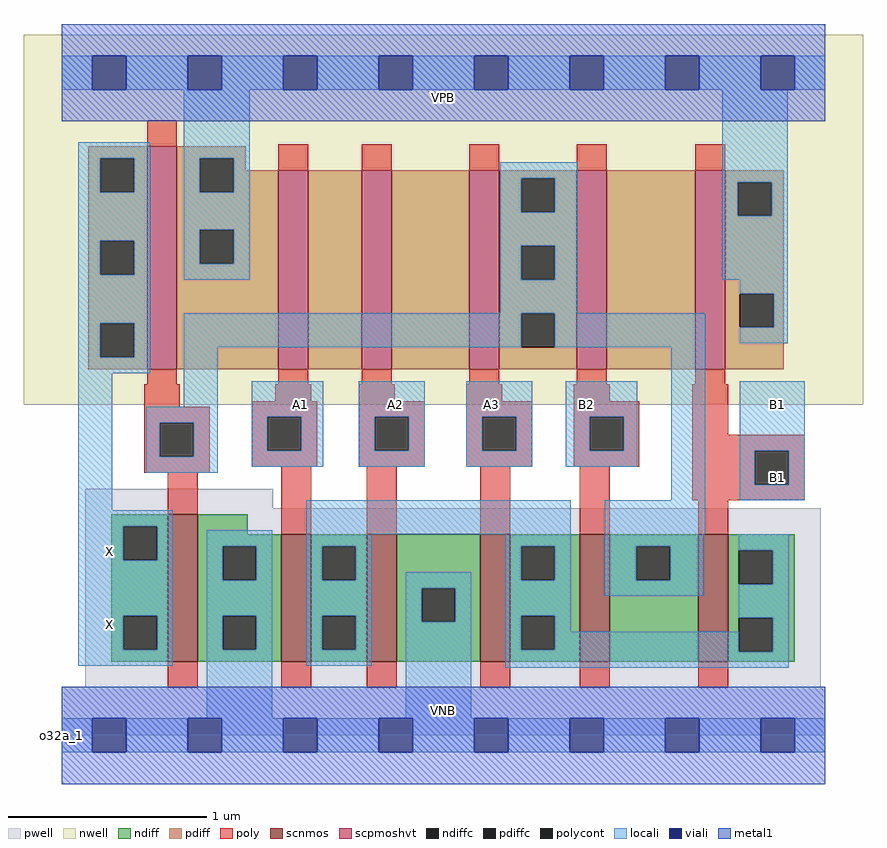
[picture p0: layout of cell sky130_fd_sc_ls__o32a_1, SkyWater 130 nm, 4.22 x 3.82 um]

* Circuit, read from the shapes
.subckt sky130_fd_sc_ls__o32a_1 A1 A2 A3 B1 B2 VGND VNB VPB VPWR X
XM1 VGND n1 X VNB sky130_fd_pr__nfet_01v8 w=0.74 l=0.15
XM2 n2 A1 VGND VNB sky130_fd_pr__nfet_01v8 w=0.64 l=0.15
XM3 VGND A2 n2 VNB sky130_fd_pr__nfet_01v8 w=0.64 l=0.15
XM4 n2 A3 VGND VNB sky130_fd_pr__nfet_01v8 w=0.64 l=0.15
XM5 n1 B2 n2 VNB sky130_fd_pr__nfet_01v8 w=0.64 l=0.15
XM6 n2 B1 n1 VNB sky130_fd_pr__nfet_01v8 w=0.64 l=0.15
XM7 VPWR n1 X VPB sky130_fd_pr__pfet_01v8_hvt w=1.12 l=0.15
XM8 n3 A1 VPWR VPB sky130_fd_pr__pfet_01v8_hvt w=1 l=0.15
XM9 n4 A2 n3 VPB sky130_fd_pr__pfet_01v8_hvt w=1 l=0.15
XM10 n1 A3 n4 VPB sky130_fd_pr__pfet_01v8_hvt w=1 l=0.15
XM11 n5 B2 n1 VPB sky130_fd_pr__pfet_01v8_hvt w=1 l=0.15
XM12 VPWR B1 n5 VPB sky130_fd_pr__pfet_01v8_hvt w=1 l=0.15
.ends

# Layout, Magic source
magic
tech sky130A
magscale 1 2
<< nwell >>
rect -38 332 806 704
<< pwell >>
rect 24 228 213 248
rect 24 49 763 228
rect 0 0 768 49
<< scnmos >>
rect 107 74 137 222
rect 221 74 251 202
rect 307 74 337 202
rect 421 74 451 202
rect 521 74 551 202
rect 640 74 670 202
<< scpmoshvt >>
rect 86 368 116 592
rect 218 368 248 568
rect 302 368 332 568
rect 410 368 440 568
rect 518 368 548 568
rect 637 368 667 568
<< ndiff >>
rect 50 210 107 222
rect 50 176 62 210
rect 96 176 107 210
rect 50 120 107 176
rect 50 86 62 120
rect 96 86 107 120
rect 50 74 107 86
rect 137 202 187 222
rect 137 190 221 202
rect 137 156 162 190
rect 196 156 221 190
rect 137 120 221 156
rect 137 86 162 120
rect 196 86 221 120
rect 137 74 221 86
rect 251 190 307 202
rect 251 156 262 190
rect 296 156 307 190
rect 251 120 307 156
rect 251 86 262 120
rect 296 86 307 120
rect 251 74 307 86
rect 337 148 421 202
rect 337 114 362 148
rect 396 114 421 148
rect 337 74 421 114
rect 451 190 521 202
rect 451 156 462 190
rect 496 156 521 190
rect 451 120 521 156
rect 451 86 462 120
rect 496 86 521 120
rect 451 74 521 86
rect 551 190 640 202
rect 551 156 578 190
rect 612 156 640 190
rect 551 74 640 156
rect 670 186 737 202
rect 670 152 681 186
rect 715 152 737 186
rect 670 118 737 152
rect 670 84 681 118
rect 715 84 737 118
rect 670 74 737 84
<< pdiff >>
rect 27 580 86 592
rect 27 546 39 580
rect 73 546 86 580
rect 27 497 86 546
rect 27 463 39 497
rect 73 463 86 497
rect 27 414 86 463
rect 27 380 39 414
rect 73 380 86 414
rect 27 368 86 380
rect 116 580 185 592
rect 116 546 139 580
rect 173 568 185 580
rect 173 546 218 568
rect 116 508 218 546
rect 116 474 139 508
rect 173 474 218 508
rect 116 368 218 474
rect 248 368 302 568
rect 332 368 410 568
rect 440 560 518 568
rect 440 526 462 560
rect 496 526 518 560
rect 440 492 518 526
rect 440 458 462 492
rect 496 458 518 492
rect 440 424 518 458
rect 440 390 462 424
rect 496 390 518 424
rect 440 368 518 390
rect 548 368 637 568
rect 667 556 726 568
rect 667 522 680 556
rect 714 522 726 556
rect 667 444 726 522
rect 667 410 682 444
rect 716 410 726 444
rect 667 368 726 410
<< ndiffc >>
rect 62 176 96 210
rect 62 86 96 120
rect 162 156 196 190
rect 162 86 196 120
rect 262 156 296 190
rect 262 86 296 120
rect 362 114 396 148
rect 462 156 496 190
rect 462 86 496 120
rect 578 156 612 190
rect 681 152 715 186
rect 681 84 715 118
<< pdiffc >>
rect 39 546 73 580
rect 39 463 73 497
rect 39 380 73 414
rect 139 546 173 580
rect 139 474 173 508
rect 462 526 496 560
rect 462 458 496 492
rect 462 390 496 424
rect 680 522 714 556
rect 682 410 716 444
<< poly >>
rect 86 592 116 618
rect 218 568 248 594
rect 302 568 332 594
rect 410 568 440 594
rect 518 568 548 594
rect 637 568 667 594
rect 86 353 116 368
rect 218 353 248 368
rect 302 353 332 368
rect 410 353 440 368
rect 518 353 548 368
rect 637 353 667 368
rect 83 330 119 353
rect 215 336 251 353
rect 299 336 335 353
rect 407 336 443 353
rect 515 336 551 353
rect 83 314 149 330
rect 83 280 99 314
rect 133 280 149 314
rect 83 264 149 280
rect 191 320 257 336
rect 191 286 207 320
rect 241 286 257 320
rect 191 270 257 286
rect 299 320 365 336
rect 299 286 315 320
rect 349 286 365 320
rect 299 270 365 286
rect 407 320 473 336
rect 407 286 423 320
rect 457 286 473 320
rect 407 270 473 286
rect 515 320 581 336
rect 515 286 531 320
rect 565 286 581 320
rect 515 270 581 286
rect 634 302 670 353
rect 634 286 747 302
rect 107 222 137 264
rect 221 202 251 270
rect 307 202 337 270
rect 421 202 451 270
rect 521 202 551 270
rect 634 252 697 286
rect 731 252 747 286
rect 634 236 747 252
rect 640 202 670 236
rect 107 48 137 74
rect 221 48 251 74
rect 307 48 337 74
rect 421 48 451 74
rect 521 48 551 74
rect 640 48 670 74
<< polycont >>
rect 99 280 133 314
rect 207 286 241 320
rect 315 286 349 320
rect 423 286 457 320
rect 531 286 565 320
rect 697 252 731 286
<< locali >>
rect 0 649 31 683
rect 65 649 127 683
rect 161 649 223 683
rect 257 649 319 683
rect 353 649 415 683
rect 449 649 511 683
rect 545 649 607 683
rect 641 649 703 683
rect 737 649 768 683
rect 17 580 89 596
rect 17 546 39 580
rect 73 546 89 580
rect 17 497 89 546
rect 17 463 39 497
rect 73 463 89 497
rect 17 414 89 463
rect 123 580 189 649
rect 123 546 139 580
rect 173 546 189 580
rect 123 508 189 546
rect 123 474 139 508
rect 173 474 189 508
rect 123 458 189 474
rect 441 560 519 576
rect 441 526 462 560
rect 496 526 519 560
rect 441 492 519 526
rect 441 458 462 492
rect 496 458 519 492
rect 664 556 730 649
rect 664 522 680 556
rect 714 522 730 556
rect 664 458 730 522
rect 441 424 519 458
rect 682 444 730 458
rect 17 380 39 414
rect 73 380 89 414
rect 17 364 89 380
rect 123 390 462 424
rect 496 390 647 424
rect 716 410 730 444
rect 682 394 730 410
rect 17 226 51 364
rect 123 330 157 390
rect 85 314 157 330
rect 85 280 99 314
rect 133 280 157 314
rect 85 264 157 280
rect 191 320 263 356
rect 191 286 207 320
rect 241 286 263 320
rect 191 270 263 286
rect 299 320 365 356
rect 299 286 315 320
rect 349 286 365 320
rect 299 270 365 286
rect 407 320 473 356
rect 407 286 423 320
rect 457 286 473 320
rect 407 270 473 286
rect 507 320 579 356
rect 507 286 531 320
rect 565 286 579 320
rect 507 270 579 286
rect 613 236 647 390
rect 682 286 747 356
rect 682 252 697 286
rect 731 252 747 286
rect 682 236 747 252
rect 17 210 112 226
rect 17 176 62 210
rect 96 176 112 210
rect 17 120 112 176
rect 17 86 62 120
rect 96 86 112 120
rect 17 70 112 86
rect 146 190 212 206
rect 146 156 162 190
rect 196 156 212 190
rect 146 120 212 156
rect 146 86 162 120
rect 196 86 212 120
rect 146 17 212 86
rect 246 202 512 236
rect 246 190 312 202
rect 246 156 262 190
rect 296 156 312 190
rect 446 190 512 202
rect 246 120 312 156
rect 246 86 262 120
rect 296 86 312 120
rect 246 70 312 86
rect 346 148 412 164
rect 346 114 362 148
rect 396 114 412 148
rect 346 17 412 114
rect 446 156 462 190
rect 496 156 512 190
rect 446 120 512 156
rect 546 202 647 236
rect 546 190 645 202
rect 546 156 578 190
rect 612 156 645 190
rect 546 140 645 156
rect 681 186 731 202
rect 715 152 731 186
rect 446 86 462 120
rect 496 104 512 120
rect 681 118 731 152
rect 496 86 681 104
rect 446 84 681 86
rect 715 84 731 118
rect 446 68 731 84
rect 0 -17 31 17
rect 65 -17 127 17
rect 161 -17 223 17
rect 257 -17 319 17
rect 353 -17 415 17
rect 449 -17 511 17
rect 545 -17 607 17
rect 641 -17 703 17
rect 737 -17 768 17
<< viali >>
rect 31 649 65 683
rect 127 649 161 683
rect 223 649 257 683
rect 319 649 353 683
rect 415 649 449 683
rect 511 649 545 683
rect 607 649 641 683
rect 703 649 737 683
rect 31 -17 65 17
rect 127 -17 161 17
rect 223 -17 257 17
rect 319 -17 353 17
rect 415 -17 449 17
rect 511 -17 545 17
rect 607 -17 641 17
rect 703 -17 737 17
<< metal1 >>
rect 0 683 768 715
rect 0 649 31 683
rect 65 649 127 683
rect 161 649 223 683
rect 257 649 319 683
rect 353 649 415 683
rect 449 649 511 683
rect 545 649 607 683
rect 641 649 703 683
rect 737 649 768 683
rect 0 617 768 649
rect 0 17 768 49
rect 0 -17 31 17
rect 65 -17 127 17
rect 161 -17 223 17
rect 257 -17 319 17
rect 353 -17 415 17
rect 449 -17 511 17
rect 545 -17 607 17
rect 641 -17 703 17
rect 737 -17 768 17
rect 0 -49 768 -17
<< labels >>
rlabel comment s 0 0 0 0 4 o32a_1
flabel pwell s 0 0 768 49 0 FreeSans 200 0 0 0 VNB
port 7 nsew ground bidirectional
flabel nwell s 0 617 768 666 0 FreeSans 200 0 0 0 VPB
port 8 nsew power bidirectional
flabel metal1 s 0 617 768 666 0 FreeSans 340 0 0 0 VPWR
port 9 nsew power bidirectional abutment
flabel metal1 s 0 0 768 49 0 FreeSans 340 0 0 0 VGND
port 6 nsew ground bidirectional abutment
flabel locali s 703 242 737 276 0 FreeSans 340 0 0 0 B1
port 4 nsew signal input
flabel locali s 703 316 737 350 0 FreeSans 340 0 0 0 B1
port 4 nsew signal input
flabel locali s 223 316 257 350 0 FreeSans 340 0 0 0 A1
port 1 nsew signal input
flabel locali s 319 316 353 350 0 FreeSans 340 0 0 0 A2
port 2 nsew signal input
flabel locali s 415 316 449 350 0 FreeSans 340 0 0 0 A3
port 3 nsew signal input
flabel locali s 511 316 545 350 0 FreeSans 340 0 0 0 B2
port 5 nsew signal input
flabel locali s 31 94 65 128 0 FreeSans 340 0 0 0 X
port 10 nsew signal output
flabel locali s 31 168 65 202 0 FreeSans 340 0 0 0 X
port 10 nsew signal output
<< properties >>
string LEFsite unit
string LEFclass CORE
string FIXED_BBOX 0 0 768 666
string GDS_FILE $PDKPATH/libs.ref/sky130_fd_sc_ls/gds/sky130_fd_sc_ls.gds
string LEFsymmetry X Y
string GDS_END 1049434
string GDS_START 1042350
<< end >>
